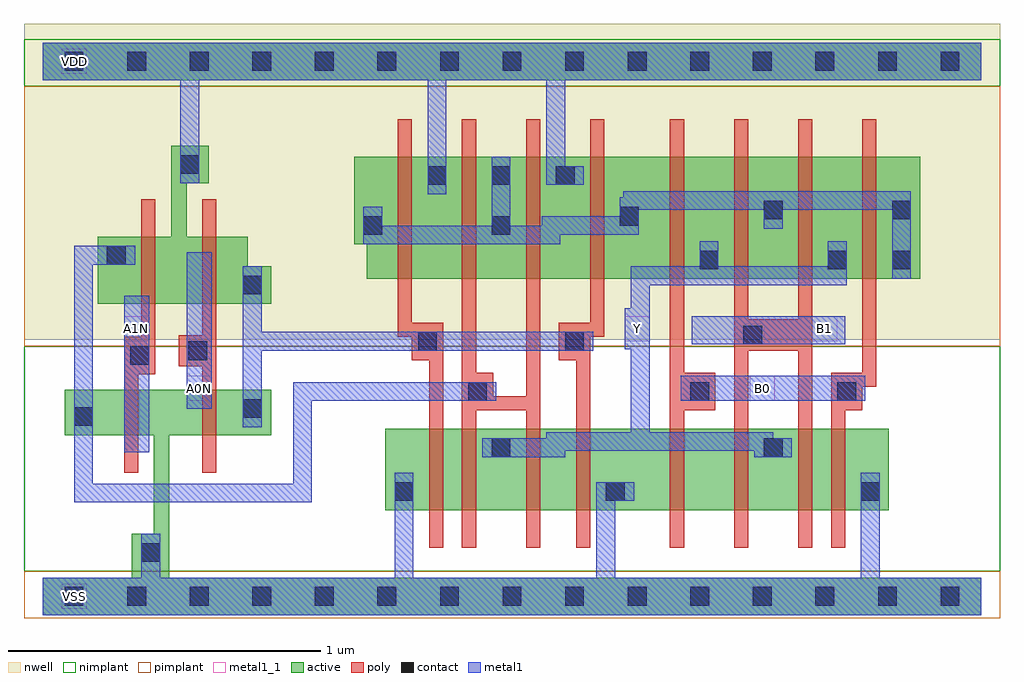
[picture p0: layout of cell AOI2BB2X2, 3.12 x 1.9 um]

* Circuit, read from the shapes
.subckt AOI2BB2X2 A0N A1N B0 B1 VDD VSS Y
M1 VSS A1N n1 VSS nfet w=0.145u l=0.045u
M2 n2 A0N VSS VSS nfet w=0.145u l=0.045u
M3 n3 n2 VSS VSS nfet w=0.26u l=0.045u
M4 Y n1 n3 VSS nfet w=0.26u l=0.045u
M5 n4 n1 Y VSS nfet w=0.26u l=0.045u
M6 VSS n2 n4 VSS nfet w=0.26u l=0.045u
M7 n5 B0 VSS VSS nfet w=0.26u l=0.045u
M8 Y B1 n5 VSS nfet w=0.26u l=0.045u
M9 n6 B1 Y VSS nfet w=0.26u l=0.045u
M10 VSS B0 n6 VSS nfet w=0.26u l=0.045u
M11 VDD A1N n1 VDD pfet w=0.215u l=0.045u
M12 n2 A0N VDD VDD pfet w=0.215u l=0.045u
M13 VDD n2 n7 VDD pfet w=0.39u l=0.045u m=2
M14 n7 n1 VDD VDD pfet w=0.39u l=0.045u m=2
M15 Y B0 n7 VDD pfet w=0.39u l=0.045u m=2
M16 n7 B1 Y VDD pfet w=0.39u l=0.045u m=2
.ends

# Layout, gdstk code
import gdstk
lib = gdstk.Library(unit=1e-6, precision=5e-10)
def R(c, l, rs):  # rectangles x0, y0, x1, y1
    for r in rs: c.add(gdstk.rectangle(r[:2], r[2:], *l))
def A(c, l, x, y, w, h, nx, ny, dx, dy):  # array of equal rectangles
    R(c, l, [(x+i*dx, y+j*dy, x+i*dx+w, y+j*dy+h) for i in range(nx) for j in range(ny)])
def P(c, l, *ps):  # polygons
    for p in ps: c.add(gdstk.Polygon(p, *l))
active = (1, 0)
nwell = (2, 0)
poly = (3, 0)
nimplant = (4, 0)
pimplant = (5, 0)
contact = (6, 0)
metal1 = (7, 0)
metal1_1 = (7, 1)

aoi2bb2x2 = lib.new_cell('AOI2BB2X2')
R(aoi2bb2x2, active, [(1.095,0.275,2.705,0.535), (0,1.65,3,1.77)])
P(aoi2bb2x2, active, [(0.41,1.44),(0.53,1.44),(0.53,1.32),(0.46,1.32),(0.46,1.15),(0.655,1.15),(0.655,1.055),(0.73,1.055),(0.73,0.935),(0.175,0.935),(0.175,1.15),(0.41,1.15)],
  [(0.995,1.405),(2.805,1.405),(2.805,1.015),(1.035,1.015),(1.035,1.125),(0.995,1.125)],
  [(0.07,0.66),(0.73,0.66),(0.73,0.515),(0.405,0.515),(0.405,0.06),(3,0.06),(3,-0.06),(0,-0.06),(0,0.06),(0.285,0.06),(0.285,0.2),(0.355,0.2),(0.355,0.515),(0.07,0.515)])
R(aoi2bb2x2, nwell, [(-0.06,0.82,3.06,1.83)])
P(aoi2bb2x2, poly, [(1.135,1.525),(1.18,1.525),(1.18,0.875),(1.28,0.875),(1.28,0.155),(1.235,0.155),(1.235,0.755),(1.18,0.755),(1.18,0.83),(1.135,0.83)],
  [(1.34,1.525),(1.385,1.525),(1.385,0.715),(1.44,0.715),(1.44,0.64),(1.545,0.64),(1.545,1.525),(1.59,1.525),(1.59,0.155),(1.545,0.155),(1.545,0.595),(1.385,0.595),(1.385,0.155),(1.34,0.155)],
  [(1.75,1.525),(1.795,1.525),(1.795,0.83),(1.75,0.83),(1.75,0.155),(1.705,0.155),(1.705,0.755),(1.65,0.755),(1.65,0.875),(1.75,0.875)],
  [(2.005,1.525),(2.05,1.525),(2.05,0.715),(2.15,0.715),(2.15,0.595),(2.05,0.595),(2.05,0.155),(2.005,0.155)],
  [(2.21,1.525),(2.255,1.525),(2.255,0.885),(2.415,0.885),(2.415,1.525),(2.46,1.525),(2.46,0.155),(2.415,0.155),(2.415,0.785),(2.255,0.785),(2.255,0.155),(2.21,0.155)],
  [(2.62,1.525),(2.665,1.525),(2.665,0.67),(2.62,0.67),(2.62,0.595),(2.565,0.595),(2.565,0.155),(2.52,0.155),(2.52,0.715),(2.62,0.715)],
  [(0.315,1.27),(0.36,1.27),(0.36,0.71),(0.305,0.71),(0.305,0.395),(0.26,0.395),(0.26,0.83),(0.315,0.83)],
  [(0.51,1.27),(0.555,1.27),(0.555,0.395),(0.51,0.395),(0.51,0.735),(0.435,0.735),(0.435,0.835),(0.51,0.835)])
R(aoi2bb2x2, nimplant, [(-0.06,0.08,3.06,0.8), (-0.06,1.63,3.06,1.78)])
R(aoi2bb2x2, pimplant, [(-0.06,-0.07,3.06,0.08), (-0.06,0.8,3.06,1.63)])
A(aoi2bb2x2, contact, 0.07, -0.03, 0.06, 0.06, 15, 2, 0.2, 1.71)
A(aoi2bb2x2, contact, 1.23, 1.315, 0.06, 0.06, 3, 1, 0.205, 0)
R(aoi2bb2x2, contact, [(0.315,0.11,0.375,0.17), (1.125,0.305,1.185,0.365), (1.8,0.305,1.86,0.365), (2.615,0.305,2.675,0.365), (1.435,0.445,1.495,0.505), (2.305,0.445,2.365,0.505), (0.1,0.545,0.16,0.605), (0.64,0.57,0.7,0.63), (1.36,0.625,1.42,0.685), (2.07,0.625,2.13,0.685), (2.54,0.625,2.6,0.685), (0.28,0.74,0.34,0.8), (0.465,0.755,0.525,0.815), (1.2,0.785,1.26,0.845), (1.67,0.785,1.73,0.845), (2.24,0.805,2.3,0.865), (0.64,0.965,0.7,1.025), (2.1,1.045,2.16,1.105), (2.51,1.045,2.57,1.105), (2.715,1.045,2.775,1.105), (0.205,1.06,0.265,1.12), (1.025,1.155,1.085,1.215), (1.435,1.155,1.495,1.215), (1.845,1.185,1.905,1.245), (2.305,1.205,2.365,1.265), (2.715,1.205,2.775,1.265), (0.44,1.35,0.5,1.41)])
R(aoi2bb2x2, metal1, [(0.26,0.46,0.34,0.96), (0.46,0.6,0.54,1.1), (2.04,0.625,2.63,0.705), (2.075,0.805,2.565,0.895)])
P(aoi2bb2x2, metal1, [(0,1.77),(3,1.77),(3,1.65),(1.67,1.65),(1.67,1.375),(1.73,1.375),(1.73,1.315),(1.61,1.315),(1.61,1.65),(1.29,1.65),(1.29,1.285),(1.23,1.285),(1.23,1.65),(0.5,1.65),(0.5,1.32),(0.44,1.32),(0.44,1.65),(0,1.65)],
  [(1.025,1.245),(1.085,1.245),(1.085,1.185),(1.435,1.185),(1.435,1.405),(1.495,1.405),(1.495,1.185),(1.595,1.185),(1.595,1.215),(1.845,1.215),(1.845,1.275),(1.855,1.275),(1.855,1.295),(2.775,1.295),(2.775,1.015),(2.715,1.015),(2.715,1.235),(2.365,1.235),(2.365,1.175),(2.305,1.175),(2.305,1.235),(1.905,1.235),(1.905,1.155),(1.655,1.155),(1.655,1.125),(1.025,1.125)],
  [(0.1,1.12),(0.295,1.12),(0.295,1.06),(0.16,1.06),(0.16,0.36),(0.8,0.36),(0.8,0.685),(1.45,0.685),(1.45,0.625),(0.86,0.625),(0.86,0.3),(0.1,0.3)],
  [(0.64,1.055),(0.7,1.055),(0.7,0.845),(1.76,0.845),(1.76,0.785),(0.7,0.785),(0.7,0.54),(0.64,0.54)],
  [(2.1,1.135),(2.16,1.135),(2.16,1.055),(2.51,1.055),(2.51,1.135),(2.57,1.135),(2.57,0.995),(1.94,0.995),(1.94,0.525),(2.335,0.525),(2.335,0.505),(2.395,0.505),(2.395,0.445),(2.275,0.445),(2.275,0.465),(1.67,0.465),(1.67,0.445),(1.405,0.445),(1.405,0.505),(1.61,0.505),(1.61,0.525),(1.88,0.525),(1.88,0.79),(1.86,0.79),(1.86,0.92),(1.88,0.92),(1.88,1.055),(2.1,1.055)],
  [(0.315,0.2),(0.375,0.2),(0.375,0.06),(1.125,0.06),(1.125,0.395),(1.185,0.395),(1.185,0.06),(1.77,0.06),(1.77,0.365),(1.89,0.365),(1.89,0.305),(1.83,0.305),(1.83,0.06),(2.615,0.06),(2.615,0.395),(2.675,0.395),(2.675,0.06),(3,0.06),(3,-0.06),(0,-0.06),(0,0.06),(0.315,0.06)])
R(aoi2bb2x2, metal1_1, [(0.06,-0.04,0.14,0.04), (0.46,0.625,0.54,0.705), (2.26,0.625,2.34,0.705), (0.26,0.815,0.34,0.895), (1.86,0.815,1.94,0.895), (2.46,0.815,2.54,0.895), (0.06,1.67,0.14,1.75)])
aoi2bb2x2.add(gdstk.Label('Y', (1.9,0.855), layer=7, texttype=1))
aoi2bb2x2.add(gdstk.Label('B1', (2.5,0.855), layer=7, texttype=1))
aoi2bb2x2.add(gdstk.Label('B0', (2.3,0.665), layer=7, texttype=1))
aoi2bb2x2.add(gdstk.Label('A0N', (0.5,0.665), layer=7, texttype=1))
aoi2bb2x2.add(gdstk.Label('A1N', (0.3,0.855), layer=7, texttype=1))
aoi2bb2x2.add(gdstk.Label('VDD', (0.1,1.71), layer=7, texttype=1))
aoi2bb2x2.add(gdstk.Label('VSS', (0.1,0), layer=7, texttype=1))
aoi2bb2x2.add(gdstk.Label('AOI2BB2X2', (0,0), layer=63, texttype=0))

lib.write_gds('AOI2BB2X2.gds')
